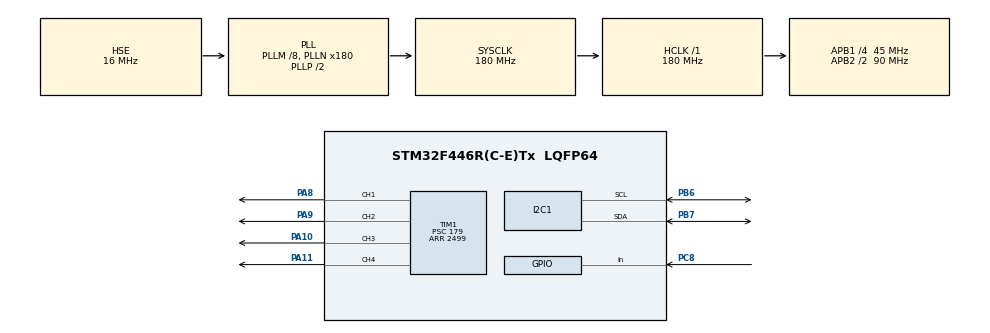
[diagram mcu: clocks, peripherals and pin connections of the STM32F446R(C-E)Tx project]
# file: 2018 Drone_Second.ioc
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I2C1.I2C_Mode=I2C_Fast
Mcu.Family=STM32F4
Mcu.Name=STM32F446R(C-E)Tx
Mcu.Package=LQFP64
NVIC.I2C1_EV_IRQn=true\:0\:0\:false\:false\:true\:true
NVIC.PriorityGroup=NVIC_PRIORITYGROUP_4
NVIC.RCC_IRQn=true\:0\:0\:false\:false\:true\:true
NVIC.TIM6_DAC_IRQn=true\:0\:0\:true\:false\:true\:true
PA10.Signal=S_TIM1_CH3
PA11.Signal=S_TIM1_CH4
PA13.Signal=SYS_JTMS-SWDIO
PA14.Signal=SYS_JTCK-SWCLK
PA8.Signal=S_TIM1_CH1
PA9.Signal=S_TIM1_CH2
PB6.Mode=I2C
PB6.Signal=I2C1_SCL
PB7.Mode=I2C
PB7.Signal=I2C1_SDA
PC8.Signal=GPIO_Input
PH0-OSC_IN.Mode=HSE-External-Oscillator
PH0-OSC_IN.Signal=RCC_OSC_IN
PH1-OSC_OUT.Mode=HSE-External-Oscillator
PH1-OSC_OUT.Signal=RCC_OSC_OUT
ProjectManager.HeapSize=0x200
ProjectManager.StackSize=0x400
ProjectManager.TargetToolchain=EWARM
RCC.AHBFreq_Value=180000000
RCC.APB1CLKDivider=RCC_HCLK_DIV4
RCC.APB1Freq_Value=45000000
RCC.APB1TimFreq_Value=90000000
RCC.APB2CLKDivider=RCC_HCLK_DIV2
RCC.APB2Freq_Value=90000000
RCC.APB2TimFreq_Value=180000000
RCC.CortexFreq_Value=180000000
RCC.HCLKFreq_Value=180000000
RCC.HSE_VALUE=16000000
RCC.PLLM=8
RCC.PLLN=180
RCC.PLLSourceVirtual=RCC_PLLSOURCE_HSE
RCC.SYSCLKFreq_VALUE=180000000
RCC.SYSCLKSource=RCC_SYSCLKSOURCE_PLLCLK
RCC.USBFreq_Value=180000000
RCC.VCOOutputFreq_Value=360000000
SH.S_TIM1_CH1.0=TIM1_CH1,PWM Generation1 CH1
SH.S_TIM1_CH2.0=TIM1_CH2,PWM Generation2 CH2
SH.S_TIM1_CH3.0=TIM1_CH3,PWM Generation3 CH3
SH.S_TIM1_CH4.0=TIM1_CH4,PWM Generation4 CH4
TIM1.Channel-PWM\ Generation1\ CH1=TIM_CHANNEL_1
TIM1.Channel-PWM\ Generation2\ CH2=TIM_CHANNEL_2
TIM1.Channel-PWM\ Generation3\ CH3=TIM_CHANNEL_3
TIM1.Channel-PWM\ Generation4\ CH4=TIM_CHANNEL_4
TIM1.Period=2499
TIM1.Prescaler=179
TIM6.Period=999
TIM6.Prescaler=89
VP_TIM6_VS_ClockSourceINT.Mode=Enable_Timer
board=2018 Drone_Second

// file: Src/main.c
/**
  ******************************************************************************
  * File Name          : main.c
  * Description        : Main program body
  ******************************************************************************
  ** This notice applies to any and all portions of this file
  * that are not between comment pairs USER CODE BEGIN and
  * USER CODE END. Other portions of this file, whether
  * inserted by the user or by software development tools
  * are owned by their respective copyright owners.
  *
  * COPYRIGHT(c) 2018 STMicroelectronics
  *
  * Redistribution and use in source and binary forms, with or without modification,
  * are permitted provided that the following conditions are met:
  *   1. Redistributions of source code must retain the above copyright notice,
  *      this list of conditions and the following disclaimer.
  *   2. Redistributions in binary form must reproduce the above copyright notice,
  *      this list of conditions and the following disclaimer in the documentation
  *      and/or other materials provided with the distribution.
  *   3. Neither the name of STMicroelectronics nor the names of its contributors
  *      may be used to endorse or promote products derived from this software
  *      without specific prior written permission.
  *
  * THIS SOFTWARE IS PROVIDED BY THE COPYRIGHT HOLDERS AND CONTRIBUTORS "AS IS"
  * AND ANY EXPRESS OR IMPLIED WARRANTIES, INCLUDING, BUT NOT LIMITED TO, THE
  * IMPLIED WARRANTIES OF MERCHANTABILITY AND FITNESS FOR A PARTICULAR PURPOSE ARE
  * DISCLAIMED. IN NO EVENT SHALL THE COPYRIGHT HOLDER OR CONTRIBUTORS BE LIABLE
  * FOR ANY DIRECT, INDIRECT, INCIDENTAL, SPECIAL, EXEMPLARY, OR CONSEQUENTIAL
  * DAMAGES (INCLUDING, BUT NOT LIMITED TO, PROCUREMENT OF SUBSTITUTE GOODS OR
  * SERVICES; LOSS OF USE, DATA, OR PROFITS; OR BUSINESS INTERRUPTION) HOWEVER
  * CAUSED AND ON ANY THEORY OF LIABILITY, WHETHER IN CONTRACT, STRICT LIABILITY,
  * OR TORT (INCLUDING NEGLIGENCE OR OTHERWISE) ARISING IN ANY WAY OUT OF THE USE
  * OF THIS SOFTWARE, EVEN IF ADVISED OF THE POSSIBILITY OF SUCH DAMAGE.
  *
  ******************************************************************************
  */

#include "main.h"
#include "stm32f4xx_hal.h"

/* USER CODE BEGIN Includes */

#include "MPU9250.h"
#include "Kalman.h"
#include "PID_Control.h"
#include <math.h>

/* USER CODE END Includes */

I2C_HandleTypeDef hi2c1;

TIM_HandleTypeDef htim1;
TIM_HandleTypeDef htim6;

/* USER CODE BEGIN PV */
/* Private variables ---------------------------------------------------------*/

int test = 0;

// Variables about Kalman Filtering
double Angle_X, Angle_Y, Angle_Z;
double pastAngle_X, pastAngle_Y, pastAngle_Z;
double accAngle_X, accAngle_Y, accAngle_Z;
int16_t Accel_X, Accel_Y, Accel_Z;
int16_t Gyro_X, Gyro_Y, Gyro_Z;
int16_t Mag_X, Mag_Y, Mag_Z;
Kalman Kal_X;
Kalman Kal_Y;

// Motor PWM signal(400Hz) : 900(init), 1100 to 2000(with prop, operate 4 at the same time)
float motorInit = 900;
float motorPWM1 = 900;
float motorPWM2 = 900;
float motorPWM3 = 900;
float motorPWM4 = 900;

// Reference Value : RC Throttle maybe
float motorValue = 1400;

// Variable for PID Attitude Control
DPID attitude_X;
double target_Angle_X = 0.0;

DPID attitude_Y;
double target_Angle_Y = 0.0;

/* USER CODE END PV */

void SystemClock_Config(void);
static void MX_GPIO_Init(void);
static void MX_I2C1_Init(void);
static void MX_TIM1_Init(void);
static void MX_TIM6_Init(void);

void HAL_TIM_MspPostInit(TIM_HandleTypeDef *htim);

/* USER CODE BEGIN PFP */
/* Private function prototypes -----------------------------------------------*/

// MPU9250 Applying Functions
void MPU9250_Write(uint8_t Address, uint8_t data);
void MPU9250_Write_bits(uint8_t Address, uint8_t bitStart, uint8_t length, uint8_t data);
uint8_t MPU9250_Read(uint8_t Address);
void init_MPU9250(void);
void read_MPU9250_data(void);

// Kalman Filtering Functions
double getKalman(Kalman* kal, double acc, double gyro, double dt);
void kalman_Init(Kalman* kal, double angle_f, double gyro, double measure);

// Complement Filtering Function
double getComple(double acc, double gyro, double dt);

// PID Attitude Control Function
//void PID_Control(DPID* dst, double target, double input);
void Angular_Control(double target_X, double target_Y);

/* USER CODE END PFP */

/* USER CODE BEGIN 0 */

#define MPU9250 MPU9250_DEFAULT_ADDRESS

/* USER CODE END 0 */

int main(void)
{

  /* USER CODE BEGIN 1 */

  test = 0;

  /* USER CODE END 1 */

  /* MCU Configuration----------------------------------------------------------*/

  /* Reset of all peripherals, Initializes the Flash interface and the Systick. */
  HAL_Init();

  /* USER CODE BEGIN Init */

  kalman_Init(&Kal_X, 0.3, 0.03, 0.08);
  kalman_Init(&Kal_Y, 0.3, 0.03, 0.08);

  //PID_Control_Initialize(&attitude_X, 45.0, 0.55, 10.0);
  PID_Control_Initialize(&attitude_X, 1.0, 0.0, 0.0);

  //PID_Control_Initialize(&attitude_Y, 45.0, 0.55, 10.0);
  PID_Control_Initialize(&attitude_Y, 1.0, 0.0, 0.0);

  /* USER CODE END Init */

  /* Configure the system clock */
  SystemClock_Config();

  /* Initialize all configured peripherals */
  MX_GPIO_Init();
  MX_I2C1_Init();
  MX_TIM1_Init();
  MX_TIM6_Init();

  /* USER CODE BEGIN 2 */

  init_MPU9250();
  HAL_TIM_PWM_Start(&htim1, TIM_CHANNEL_1);
  HAL_TIMEx_PWMN_Start(&htim1, TIM_CHANNEL_1);
  HAL_TIM_PWM_Start(&htim1, TIM_CHANNEL_2);
  HAL_TIMEx_PWMN_Start(&htim1, TIM_CHANNEL_2);
  HAL_TIM_PWM_Start(&htim1, TIM_CHANNEL_3);
  HAL_TIMEx_PWMN_Start(&htim1, TIM_CHANNEL_3);
  HAL_TIM_PWM_Start(&htim1, TIM_CHANNEL_4);
  HAL_TIMEx_PWMN_Start(&htim1, TIM_CHANNEL_4);

  TIM1->CCR1 = (unsigned int)motorInit;
  TIM1->CCR2 = (unsigned int)motorInit;
  TIM1->CCR3 = (unsigned int)motorInit;
  TIM1->CCR4 = (unsigned int)motorInit;

  HAL_TIM_Base_Start_IT(&htim6);

  /* USER CODE END 2 */

  /* Infinite loop */
  while (1)
  {

  }

}

/** System Clock Configuration
*/
void SystemClock_Config(void)
{

  RCC_OscInitTypeDef RCC_OscInitStruct;
  RCC_ClkInitTypeDef RCC_ClkInitStruct;

    /**Configure the main internal regulator output voltage
    */
  __HAL_RCC_PWR_CLK_ENABLE();

  __HAL_PWR_VOLTAGESCALING_CONFIG(PWR_REGULATOR_VOLTAGE_SCALE1);

    /**Initializes the CPU, AHB and APB busses clocks
    */
  RCC_OscInitStruct.OscillatorType = RCC_OSCILLATORTYPE_HSE;
  RCC_OscInitStruct.HSEState = RCC_HSE_ON;
  RCC_OscInitStruct.PLL.PLLState = RCC_PLL_ON;
  RCC_OscInitStruct.PLL.PLLSource = RCC_PLLSOURCE_HSE;
  RCC_OscInitStruct.PLL.PLLM = 8;
  RCC_OscInitStruct.PLL.PLLN = 180;
  RCC_OscInitStruct.PLL.PLLP = RCC_PLLP_DIV2;
  RCC_OscInitStruct.PLL.PLLQ = 2;
  RCC_OscInitStruct.PLL.PLLR = 2;
  if (HAL_RCC_OscConfig(&RCC_OscInitStruct) != HAL_OK)
  {
    _Error_Handler(__FILE__, __LINE__);
  }

    /**Activate the Over-Drive mode
    */
  if (HAL_PWREx_EnableOverDrive() != HAL_OK)
  {
    _Error_Handler(__FILE__, __LINE__);
  }

    /**Initializes the CPU, AHB and APB busses clocks
    */
  RCC_ClkInitStruct.ClockType = RCC_CLOCKTYPE_HCLK|RCC_CLOCKTYPE_SYSCLK
                              |RCC_CLOCKTYPE_PCLK1|RCC_CLOCKTYPE_PCLK2;
  RCC_ClkInitStruct.SYSCLKSource = RCC_SYSCLKSOURCE_PLLCLK;
  RCC_ClkInitStruct.AHBCLKDivider = RCC_SYSCLK_DIV1;
  RCC_ClkInitStruct.APB1CLKDivider = RCC_HCLK_DIV4;
  RCC_ClkInitStruct.APB2CLKDivider = RCC_HCLK_DIV2;

  if (HAL_RCC_ClockConfig(&RCC_ClkInitStruct, FLASH_LATENCY_5) != HAL_OK)
  {
    _Error_Handler(__FILE__, __LINE__);
  }

    /**Configure the Systick interrupt time
    */
  HAL_SYSTICK_Config(HAL_RCC_GetHCLKFreq()/1000);

    /**Configure the Systick
    */
  HAL_SYSTICK_CLKSourceConfig(SYSTICK_CLKSOURCE_HCLK);

  /* SysTick_IRQn interrupt configuration */
  HAL_NVIC_SetPriority(SysTick_IRQn, 0, 0);
}

/* I2C1 init function */
static void MX_I2C1_Init(void)
{

  hi2c1.Instance = I2C1;
  hi2c1.Init.ClockSpeed = 400000;
  hi2c1.Init.DutyCycle = I2C_DUTYCYCLE_2;
  hi2c1.Init.OwnAddress1 = 0;
  hi2c1.Init.AddressingMode = I2C_ADDRESSINGMODE_7BIT;
  hi2c1.Init.DualAddressMode = I2C_DUALADDRESS_DISABLE;
  hi2c1.Init.OwnAddress2 = 0;
  hi2c1.Init.GeneralCallMode = I2C_GENERALCALL_DISABLE;
  hi2c1.Init.NoStretchMode = I2C_NOSTRETCH_DISABLE;
  if (HAL_I2C_Init(&hi2c1) != HAL_OK)
  {
    _Error_Handler(__FILE__, __LINE__);
  }

}

/* TIM1 init function */
static void MX_TIM1_Init(void)
{

  TIM_MasterConfigTypeDef sMasterConfig;
  TIM_OC_InitTypeDef sConfigOC;
  TIM_BreakDeadTimeConfigTypeDef sBreakDeadTimeConfig;

  htim1.Instance = TIM1;
  htim1.Init.Prescaler = 179;
  htim1.Init.CounterMode = TIM_COUNTERMODE_UP;
  htim1.Init.Period = 2499;
  htim1.Init.ClockDivision = TIM_CLOCKDIVISION_DIV1;
  htim1.Init.RepetitionCounter = 0;
  if (HAL_TIM_PWM_Init(&htim1) != HAL_OK)
  {
    _Error_Handler(__FILE__, __LINE__);
  }

  sMasterConfig.MasterOutputTrigger = TIM_TRGO_RESET;
  sMasterConfig.MasterSlaveMode = TIM_MASTERSLAVEMODE_DISABLE;
  if (HAL_TIMEx_MasterConfigSynchronization(&htim1, &sMasterConfig) != HAL_OK)
  {
    _Error_Handler(__FILE__, __LINE__);
  }

  sConfigOC.OCMode = TIM_OCMODE_PWM1;
  sConfigOC.Pulse = 0;
  sConfigOC.OCPolarity = TIM_OCPOLARITY_HIGH;
  sConfigOC.OCNPolarity = TIM_OCNPOLARITY_HIGH;
  sConfigOC.OCFastMode = TIM_OCFAST_DISABLE;
  sConfigOC.OCIdleState = TIM_OCIDLESTATE_RESET;
  sConfigOC.OCNIdleState = TIM_OCNIDLESTATE_RESET;
  if (HAL_TIM_PWM_ConfigChannel(&htim1, &sConfigOC, TIM_CHANNEL_1) != HAL_OK)
  {
    _Error_Handler(__FILE__, __LINE__);
  }

  if (HAL_TIM_PWM_ConfigChannel(&htim1, &sConfigOC, TIM_CHANNEL_2) != HAL_OK)
  {
    _Error_Handler(__FILE__, __LINE__);
  }

  if (HAL_TIM_PWM_ConfigChannel(&htim1, &sConfigOC, TIM_CHANNEL_3) != HAL_OK)
  {
    _Error_Handler(__FILE__, __LINE__);
  }

  if (HAL_TIM_PWM_ConfigChannel(&htim1, &sConfigOC, TIM_CHANNEL_4) != HAL_OK)
  {
    _Error_Handler(__FILE__, __LINE__);
  }

  sBreakDeadTimeConfig.OffStateRunMode = TIM_OSSR_DISABLE;
  sBreakDeadTimeConfig.OffStateIDLEMode = TIM_OSSI_DISABLE;
  sBreakDeadTimeConfig.LockLevel = TIM_LOCKLEVEL_OFF;
  sBreakDeadTimeConfig.DeadTime = 0;
  sBreakDeadTimeConfig.BreakState = TIM_BREAK_DISABLE;
  sBreakDeadTimeConfig.BreakPolarity = TIM_BREAKPOLARITY_HIGH;
  sBreakDeadTimeConfig.AutomaticOutput = TIM_AUTOMATICOUTPUT_DISABLE;
  if (HAL_TIMEx_ConfigBreakDeadTime(&htim1, &sBreakDeadTimeConfig) != HAL_OK)
  {
    _Error_Handler(__FILE__, __LINE__);
  }

  HAL_TIM_MspPostInit(&htim1);

}

/* TIM6 init function */
static void MX_TIM6_Init(void)
{

  TIM_MasterConfigTypeDef sMasterConfig;

  htim6.Instance = TIM6;
  htim6.Init.Prescaler = 89;
  htim6.Init.CounterMode = TIM_COUNTERMODE_UP;
  htim6.Init.Period = 1999;
  if (HAL_TIM_Base_Init(&htim6) != HAL_OK)
  {
    _Error_Handler(__FILE__, __LINE__);
  }

  sMasterConfig.MasterOutputTrigger = TIM_TRGO_RESET;
  sMasterConfig.MasterSlaveMode = TIM_MASTERSLAVEMODE_DISABLE;
  if (HAL_TIMEx_MasterConfigSynchronization(&htim6, &sMasterConfig) != HAL_OK)
  {
    _Error_Handler(__FILE__, __LINE__);
  }

}

/** Configure pins as
        * Analog
        * Input
        * Output
        * EVENT_OUT
        * EXTI
*/
static void MX_GPIO_Init(void)
{

  GPIO_InitTypeDef GPIO_InitStruct;

  /* GPIO Ports Clock Enable */
  __HAL_RCC_GPIOH_CLK_ENABLE();
  __HAL_RCC_GPIOC_CLK_ENABLE();
  __HAL_RCC_GPIOA_CLK_ENABLE();
  __HAL_RCC_GPIOB_CLK_ENABLE();

  /*Configure GPIO pin : PC8 */
  GPIO_InitStruct.Pin = GPIO_PIN_8;
  GPIO_InitStruct.Mode = GPIO_MODE_INPUT;
  GPIO_InitStruct.Pull = GPIO_NOPULL;
  HAL_GPIO_Init(GPIOC, &GPIO_InitStruct);

}

/* USER CODE BEGIN 4 */

void HAL_TIM_PeriodElapsedCallback(TIM_HandleTypeDef *htim)
{
  if(htim->Instance == TIM6)
  {
    read_MPU9250_data();
    Angle_X = getKalman(&Kal_X, Accel_X, Gyro_X, 0.01);
    Angle_Y = getKalman(&Kal_Y, Accel_Y, Gyro_Y, 0.01);

    if(HAL_GPIO_ReadPin(GPIOC, GPIO_PIN_8) != 0)
    {
      if(test == 5737)
      {
        Angular_Control(target_Angle_X, target_Angle_Y);
        TIM1->CCR1 = (unsigned int)motorPWM1;
        TIM1->CCR2 = (unsigned int)motorPWM2;
        TIM1->CCR3 = (unsigned int)motorPWM3;
        TIM1->CCR4 = (unsigned int)motorPWM4;
      }
    }
    else
    {
      TIM1->CCR1 = (unsigned int)motorInit;
      TIM1->CCR2 = (unsigned int)motorInit;
      TIM1->CCR3 = (unsigned int)motorInit;
      TIM1->CCR4 = (unsigned int)motorInit;
      motorPWM1 = motorInit;
      motorPWM2 = motorInit;
      motorPWM3 = motorInit;
      motorPWM4 = motorInit;
      test = 5709;
    }
  }
}

void MPU9250_Write(uint8_t Address, uint8_t data)
{
  HAL_I2C_Mem_Write(&hi2c1, MPU9250, Address, 1, (uint8_t*)&data, 1, 10);
}

void MPU9250_Write_bits(uint8_t Address, uint8_t bitStart, uint8_t length, uint8_t data)
{
  uint8_t temp = 0;

  HAL_I2C_Mem_Read(&hi2c1, MPU9250, Address, 1, (uint8_t*)&temp, 1, 10);
  uint8_t mask = 0;
  switch(length)
  {
  case 1:
    mask = 0x01;
    break;
  case 2:
    mask = 0x03;
    break;
  case 3:
    mask = 0x07;
    break;
  case 4:
    mask = 0x0F;
    break;
  case 5:
    mask = 0x1F;
    break;
  case 6:
    mask = 0x3F;
    break;
  case 7:
    mask = 0x7F;
    break;
  case 8:
    mask = 0xFF;
    break;
  }

  temp &= ~(mask << bitStart);
  temp |= (data << bitStart);
  HAL_I2C_Mem_Write(&hi2c1, MPU9250, Address, 1, (uint8_t*)&temp, 1, 10);
}

uint8_t MPU9250_Read(uint8_t Address)
{
  uint8_t data = 0;
  HAL_I2C_Mem_Read(&hi2c1, MPU9250, Address, 1, (uint8_t*)&data, 1, 10);
  return data;
}

void init_MPU9250(void)
{
  uint8_t temp = MPU9250_Read(MPU9250_RA_WHO_AM_I);
  HAL_Delay(100);
  MPU9250_Write_bits(MPU9250_RA_PWR_MGMT_1, MPU9250_PWR1_SLEEP_BIT, 0x01, DISABLE);
  HAL_Delay(10);
  MPU9250_Write_bits(MPU9250_RA_PWR_MGMT_1, MPU9250_PWR1_CLKSEL_BIT, MPU9250_PWR1_CLKSEL_LENGTH, MPU9250_CLOCK_PLL_XGYRO);
  MPU9250_Write_bits(MPU9250_RA_GYRO_CONFIG, MPU9250_GCONFIG_FS_SEL_BIT, MPU9250_GCONFIG_FS_SEL_LENGTH, MPU9250_GYRO_FS_250);
  MPU9250_Write_bits(MPU9250_RA_ACCEL_CONFIG, MPU9250_ACONFIG_AFS_SEL_BIT, MPU9250_ACONFIG_AFS_SEL_LENGTH, MPU9250_ACCEL_FS_2);
}

void read_MPU9250_data(void)
{
  Accel_X = (MPU9250_Read(MPU9250_RA_ACCEL_XOUT_H) << 8) | MPU9250_Read(MPU9250_RA_ACCEL_XOUT_L);
  Accel_Y = (MPU9250_Read(MPU9250_RA_ACCEL_YOUT_H) << 8) | MPU9250_Read(MPU9250_RA_ACCEL_YOUT_L);
  Accel_Z = (MPU9250_Read(MPU9250_RA_ACCEL_ZOUT_H) << 8) | MPU9250_Read(MPU9250_RA_ACCEL_ZOUT_L);
  Gyro_X = (MPU9250_Read(MPU9250_RA_GYRO_XOUT_H) << 8) | MPU9250_Read(MPU9250_RA_GYRO_XOUT_L);
  Gyro_Y = (MPU9250_Read(MPU9250_RA_GYRO_YOUT_H) << 8) | MPU9250_Read(MPU9250_RA_GYRO_YOUT_L);
  Gyro_Z = (MPU9250_Read(MPU9250_RA_GYRO_ZOUT_H) << 8) | MPU9250_Read(MPU9250_RA_GYRO_ZOUT_L);
  //Mag_X = (MPU9250_Read(MPU9250_RA_MAG_XOUT_H) << 8) | MPU9250_Read(MPU9250_RA_MAG_XOUT_L);
  //Mag_Y = (MPU9250_Read(MPU9250_RA_MAG_YOUT_H) << 8) | MPU9250_Read(MPU9250_RA_MAG_YOUT_L);
  //Mag_Z = (MPU9250_Read(MPU9250_RA_MAG_ZOUT_H) << 8) | MPU9250_Read(MPU9250_RA_MAG_ZOUT_L);
}

double getKalman(Kalman* kal, double acc, double gyro, double dt)
{
  kal->angle += dt * (gyro - kal->bias);

  kal->P[0][0] += dt * (dt * kal->P[1][1] - kal->P[0][1] - kal->P[1][0] * kal->Q_Angle);
  kal->P[0][1] -= dt * kal->P[1][1];
  kal->P[1][0] -= dt * kal->P[1][1];
  kal->P[1][1] += kal->Q_Gyro * dt;

  double S = kal->P[0][0] + kal->R_Measure;
  kal->K[0] = kal->P[0][0] / S;
  kal->K[1] = kal->P[1][0] / S;

  double y = acc - kal->angle;
  kal->angle += kal->K[0] * y;
  kal->bias += kal->K[1] * y;

  double P_temp[2] = {kal->P[0][0], kal->P[0][1]};
  kal->P[0][0] -= kal->K[0] * P_temp[0];
  kal->P[0][1] -= kal->K[0] * P_temp[1];
  kal->P[1][0] -= kal->K[1] * P_temp[0];
  kal->P[1][1] -= kal->K[1] * P_temp[1];

  return kal->angle;
}

void kalman_Init(Kalman* kal, double angle_f, double bias_f, double measure)
{
  kal->Q_Angle = angle_f;
  kal->Q_Gyro = bias_f;
  kal->R_Measure = measure;

  kal->angle = 0;
  kal->bias = 0;

  kal->P[0][0] = 0;
  kal->P[0][1] = 0;
  kal->P[1][0] = 0;
  kal->P[1][1] = 0;
}

double getComple(double accAngle, double gyroAngle, double dt)
{
  double accelDegree = accAngle;
  return accelDegree;
}

void PID_Control_Initialize(DPID* dst, double gain_P, double gain_I, double gain_D)
{
  dst->errorSum = 0.0;
  dst->errorSumLimit = 10000.0;
  dst->outerP = 1.0;
  dst->kP = gain_P;
  dst->kI = gain_I;
  dst->kD = gain_D;
  dst->pastAngleError = 0.0;
  dst->underOfPoint = 5000.0;
  dst->outputLimit = 8000.0;
}

void PID_Control(DPID* dst, double target, double input, double Gyro_V)
{
  // Angle P control
  dst->targetAngle = target;
  dst->nowAngle = input;
  dst->angleError = dst->targetAngle - dst->nowAngle;

  // Angular Velocity Control
  // P Control
  dst->nowASError = (dst->outerP * dst->angleError) - Gyro_V;
  // I Control
  dst->asErrorSum += dst->nowASError;
  // D Control
  dst->asErrorDiff = dst->nowASError - dst->pastASError;

  if(dst->errorSumLimit != 0)
  {
    if(dst->asErrorSum > dst->errorSumLimit)
    {
      dst->asErrorSum = dst->errorSumLimit;
    }
    else if(dst->asErrorSum < -dst->errorSumLimit)
    {
      dst->asErrorSum = -dst->errorSumLimit;
    }
  }

  dst->nowOutput = (long)(dst->kP * dst->nowASError) +
                   (long)(dst->kI * dst->asErrorSum) +
                   (long)(dst->kD * dst->asErrorDiff);

  if(dst->underOfPoint == 0)
    return;

  dst->nowOutput /= dst->underOfPoint;

  dst->pastAngle = dst->nowAngle;
  dst->pastAngleError = dst->angleError;
  dst->pastASError = dst->nowASError;

  if(dst->outputLimit != 0)
  {
    if(dst->nowOutput > dst->outputLimit)
      dst->nowOutput = dst->outputLimit;
    else if(dst->nowOutput < -dst->outputLimit)
      dst->nowOutput = -dst->outputLimit;
  }
}

void Angular_Control(double target_X, double target_Y)
{
  PID_Control(&attitude_X, target_X, Angle_X, Gyro_X);
  PID_Control(&attitude_Y, target_Y, Angle_Y, Gyro_Y);

  motorPWM1 = ((motorValue - ((double)attitude_Y.nowOutput * 0.5)) * 0.5) + ((motorValue + ((double)attitude_X.nowOutput * 0.5)) * 0.5);
  motorPWM3 = ((motorValue + ((double)attitude_Y.nowOutput * 0.5)) * 0.5) + ((motorValue + ((double)attitude_X.nowOutput * 0.5)) * 0.5);
  motorPWM2 = ((motorValue + ((double)attitude_Y.nowOutput * 0.5)) * 0.5) + ((motorValue - ((double)attitude_X.nowOutput * 0.5)) * 0.5);
  motorPWM4 = ((motorValue - ((double)attitude_Y.nowOutput * 0.5)) * 0.5) + ((motorValue - ((double)attitude_X.nowOutput * 0.5)) * 0.5);
}

/* USER CODE END 4 */

void _Error_Handler(char * file, int line)
{
  /* USER CODE BEGIN Error_Handler_Debug */
  /* User can add his own implementation to report the HAL error return state */
  while(1)
  {
    test = 404;
  }
  /* USER CODE END Error_Handler_Debug */
}

/************************ (C) COPYRIGHT STMicroelectronics *****END OF FILE****/
